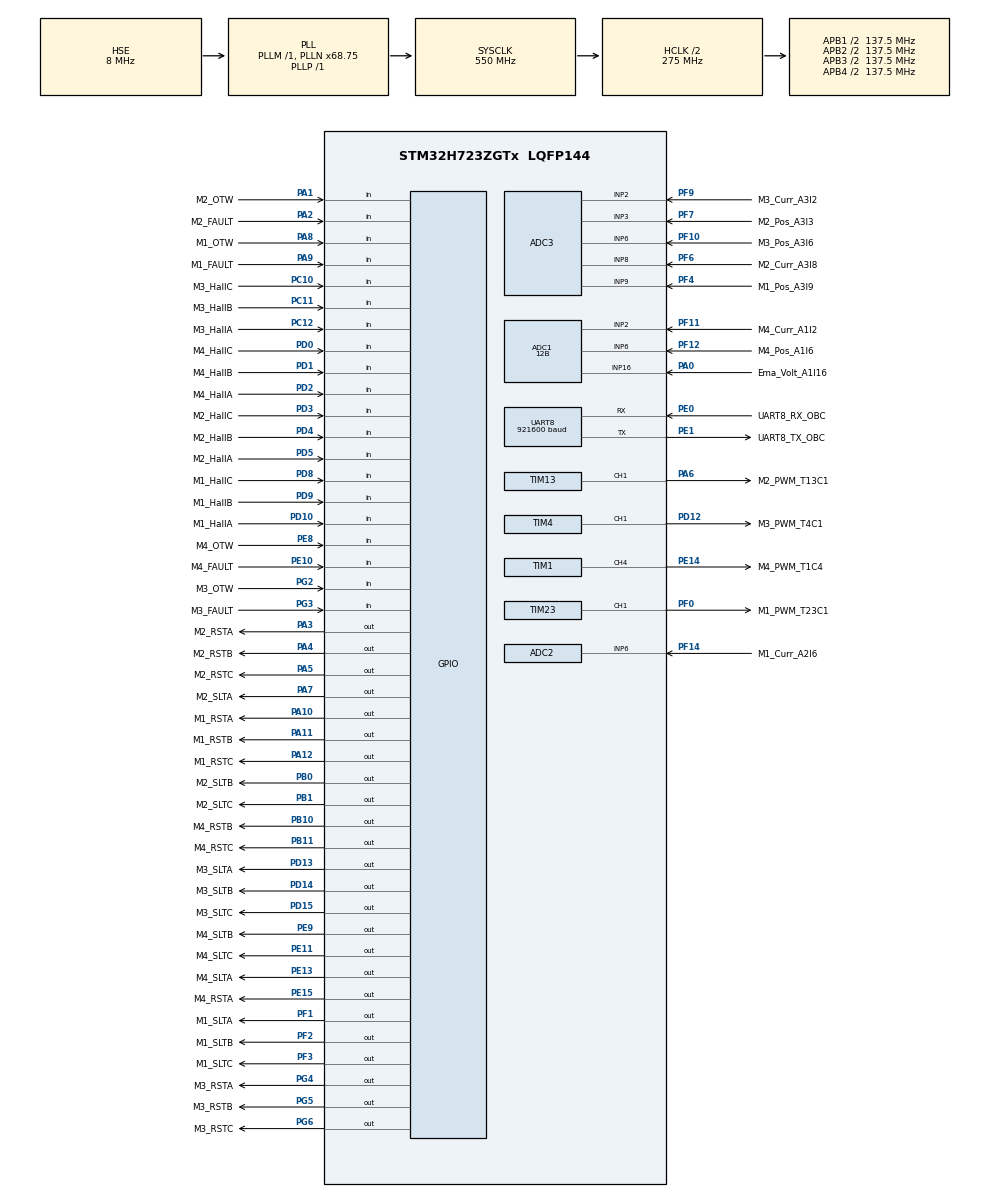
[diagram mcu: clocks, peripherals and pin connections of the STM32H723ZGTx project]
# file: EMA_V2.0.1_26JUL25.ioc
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ADC1.Channel-4\#ChannelRegularConversion=ADC_CHANNEL_2
ADC1.Channel-5\#ChannelRegularConversion=ADC_CHANNEL_6
ADC1.Channel-6\#ChannelRegularConversion=ADC_CHANNEL_16
ADC1.ClockPrescaler=ADC_CLOCK_ASYNC_DIV1
ADC1.ClockPrescalerADC3=ADC_CLOCK_ASYNC_DIV1
ADC1.ContinuousConvMode=DISABLE
ADC1.ConversionDataManagement=ADC_CONVERSIONDATA_DMA_ONESHOT
ADC1.EOCSelection=ADC_EOC_SEQ_CONV
ADC1.NbrOfConversion=3
ADC1.NbrOfConversionFlag=1
ADC1.OffsetNumber-4\#ChannelRegularConversion=ADC_OFFSET_NONE
ADC1.OffsetNumber-5\#ChannelRegularConversion=ADC_OFFSET_NONE
ADC1.OffsetNumber-6\#ChannelRegularConversion=ADC_OFFSET_NONE
ADC1.OffsetSignedSaturation-4\#ChannelRegularConversion=DISABLE
ADC1.OffsetSignedSaturation-5\#ChannelRegularConversion=DISABLE
ADC1.Rank-4\#ChannelRegularConversion=1
ADC1.Rank-5\#ChannelRegularConversion=2
ADC1.Rank-6\#ChannelRegularConversion=3
ADC1.Resolution=ADC_RESOLUTION_12B
ADC1.SamplingTime-4\#ChannelRegularConversion=ADC_SAMPLETIME_810CYCLES_5
ADC1.SamplingTime-5\#ChannelRegularConversion=ADC_SAMPLETIME_810CYCLES_5
ADC1.SamplingTime-6\#ChannelRegularConversion=ADC_SAMPLETIME_810CYCLES_5
ADC1.master=1
ADC2.Channel-1\#ChannelRegularConversion=ADC_CHANNEL_6
ADC2.ClockPrescalerADC3=ADC_CLOCK_ASYNC_DIV1
ADC2.ContinuousConvMode=DISABLE
ADC2.ConversionDataManagement=ADC_CONVERSIONDATA_DMA_ONESHOT
ADC2.EOCSelection=ADC_EOC_SEQ_CONV
ADC2.NbrOfConversion=1
ADC2.NbrOfConversionFlag=1
ADC2.OffsetNumber-1\#ChannelRegularConversion=ADC_OFFSET_NONE
ADC2.OffsetSignedSaturation-1\#ChannelRegularConversion=DISABLE
ADC2.Rank-1\#ChannelRegularConversion=1
ADC2.Resolution=ADC_RESOLUTION_12B
ADC2.SamplingTime-1\#ChannelRegularConversion=ADC_SAMPLETIME_810CYCLES_5
ADC3.Channel-12\#ChannelRegularConversion=ADC_CHANNEL_9
ADC3.Channel-13\#ChannelRegularConversion=ADC_CHANNEL_8
ADC3.Channel-14\#ChannelRegularConversion=ADC_CHANNEL_3
ADC3.Channel-15\#ChannelRegularConversion=ADC_CHANNEL_2
ADC3.Channel-16\#ChannelRegularConversion=ADC_CHANNEL_6
ADC3.ClockPrescaler=ADC_CLOCK_ASYNC_DIV1
ADC3.ClockPrescalerADC3=ADC_CLOCK_ASYNC_DIV1
ADC3.ContinuousConvMode=DISABLE
ADC3.ConversionDataManagement=ADC_CONVERSIONDATA_DMA_ONESHOT
ADC3.DMAContinuousRequests=DISABLE
ADC3.EOCSelection=ADC_EOC_SEQ_CONV
ADC3.NbrOfConversion=5
ADC3.NbrOfConversionFlag=1
ADC3.OffsetNumber-12\#ChannelRegularConversion=ADC_OFFSET_NONE
ADC3.OffsetNumber-13\#ChannelRegularConversion=ADC_OFFSET_NONE
ADC3.OffsetNumber-14\#ChannelRegularConversion=ADC_OFFSET_NONE
ADC3.OffsetNumber-15\#ChannelRegularConversion=ADC_OFFSET_NONE
ADC3.OffsetNumber-16\#ChannelRegularConversion=ADC_OFFSET_NONE
ADC3.OffsetSign-12\#ChannelRegularConversion=ADC3_OFFSET_SIGN_NEGATIVE
ADC3.OffsetSign-13\#ChannelRegularConversion=ADC3_OFFSET_SIGN_NEGATIVE
ADC3.OffsetSign-14\#ChannelRegularConversion=ADC3_OFFSET_SIGN_NEGATIVE
ADC3.OffsetSign-15\#ChannelRegularConversion=ADC3_OFFSET_SIGN_NEGATIVE
ADC3.OffsetSign-16\#ChannelRegularConversion=ADC3_OFFSET_SIGN_NEGATIVE
ADC3.Rank-12\#ChannelRegularConversion=1
ADC3.Rank-13\#ChannelRegularConversion=2
ADC3.Rank-14\#ChannelRegularConversion=3
ADC3.Rank-15\#ChannelRegularConversion=4
ADC3.Rank-16\#ChannelRegularConversion=5
ADC3.SamplingTime-12\#ChannelRegularConversion=ADC3_SAMPLETIME_640CYCLES_5
ADC3.SamplingTime-13\#ChannelRegularConversion=ADC3_SAMPLETIME_640CYCLES_5
ADC3.SamplingTime-14\#ChannelRegularConversion=ADC3_SAMPLETIME_640CYCLES_5
ADC3.SamplingTime-15\#ChannelRegularConversion=ADC3_SAMPLETIME_640CYCLES_5
ADC3.SamplingTime-16\#ChannelRegularConversion=ADC3_SAMPLETIME_640CYCLES_5
CRC.CRCLength=CRC_POLYLENGTH_16B
CRC.DefaultInitValueUse=DEFAULT_INIT_VALUE_DISABLE
CRC.DefaultPolynomialUse=DEFAULT_POLYNOMIAL_DISABLE
CRC.GeneratingPolynomial=X15+X2+X0
CRC.InitValue=0xFFFF
Dma.ADC1.2.Direction=DMA_PERIPH_TO_MEMORY
Dma.ADC1.2.EventEnable=DISABLE
Dma.ADC1.2.FIFOMode=DMA_FIFOMODE_DISABLE
Dma.ADC1.2.Instance=DMA1_Stream4
Dma.ADC1.2.MemDataAlignment=DMA_MDATAALIGN_HALFWORD
Dma.ADC1.2.MemInc=DMA_MINC_ENABLE
Dma.ADC1.2.Mode=DMA_NORMAL
Dma.ADC1.2.PeriphDataAlignment=DMA_PDATAALIGN_HALFWORD
Dma.ADC1.2.PeriphInc=DMA_PINC_DISABLE
Dma.ADC1.2.Polarity=HAL_DMAMUX_REQ_GEN_RISING
Dma.ADC1.2.Priority=DMA_PRIORITY_LOW
Dma.ADC1.2.RequestNumber=1
Dma.ADC1.2.SignalID=NONE
Dma.ADC1.2.SyncEnable=DISABLE
Dma.ADC1.2.SyncPolarity=HAL_DMAMUX_SYNC_NO_EVENT
Dma.ADC1.2.SyncRequestNumber=1
Dma.ADC1.2.SyncSignalID=NONE
Dma.ADC2.3.Direction=DMA_PERIPH_TO_MEMORY
Dma.ADC2.3.EventEnable=DISABLE
Dma.ADC2.3.FIFOMode=DMA_FIFOMODE_DISABLE
Dma.ADC2.3.Instance=DMA1_Stream3
Dma.ADC2.3.MemDataAlignment=DMA_MDATAALIGN_HALFWORD
Dma.ADC2.3.MemInc=DMA_MINC_ENABLE
Dma.ADC2.3.Mode=DMA_NORMAL
Dma.ADC2.3.PeriphDataAlignment=DMA_PDATAALIGN_HALFWORD
Dma.ADC2.3.PeriphInc=DMA_PINC_DISABLE
Dma.ADC2.3.Polarity=HAL_DMAMUX_REQ_GEN_RISING
Dma.ADC2.3.Priority=DMA_PRIORITY_LOW
Dma.ADC2.3.RequestNumber=1
Dma.ADC2.3.SignalID=NONE
Dma.ADC2.3.SyncEnable=DISABLE
Dma.ADC2.3.SyncPolarity=HAL_DMAMUX_SYNC_NO_EVENT
Dma.ADC2.3.SyncRequestNumber=1
Dma.ADC2.3.SyncSignalID=NONE
Dma.ADC3.4.Direction=DMA_PERIPH_TO_MEMORY
Dma.ADC3.4.EventEnable=DISABLE
Dma.ADC3.4.FIFOMode=DMA_FIFOMODE_DISABLE
Dma.ADC3.4.Instance=DMA1_Stream1
Dma.ADC3.4.MemDataAlignment=DMA_MDATAALIGN_HALFWORD
Dma.ADC3.4.MemInc=DMA_MINC_ENABLE
Dma.ADC3.4.Mode=DMA_NORMAL
Dma.ADC3.4.PeriphDataAlignment=DMA_PDATAALIGN_HALFWORD
Dma.ADC3.4.PeriphInc=DMA_PINC_DISABLE
Dma.ADC3.4.Polarity=HAL_DMAMUX_REQ_GEN_RISING
Dma.ADC3.4.Priority=DMA_PRIORITY_LOW
Dma.ADC3.4.RequestNumber=1
Dma.ADC3.4.SignalID=NONE
Dma.ADC3.4.SyncEnable=DISABLE
Dma.ADC3.4.SyncPolarity=HAL_DMAMUX_SYNC_NO_EVENT
Dma.ADC3.4.SyncRequestNumber=1
Dma.ADC3.4.SyncSignalID=NONE
Dma.Request0=UART8_RX
Dma.Request1=UART8_TX
Dma.Request2=ADC1
Dma.Request3=ADC2
Dma.Request4=ADC3
Dma.UART8_RX.0.Direction=DMA_PERIPH_TO_MEMORY
Dma.UART8_RX.0.EventEnable=DISABLE
Dma.UART8_RX.0.FIFOMode=DMA_FIFOMODE_DISABLE
Dma.UART8_RX.0.Instance=DMA1_Stream0
Dma.UART8_RX.0.MemDataAlignment=DMA_MDATAALIGN_BYTE
Dma.UART8_RX.0.MemInc=DMA_MINC_ENABLE
Dma.UART8_RX.0.Mode=DMA_NORMAL
Dma.UART8_RX.0.PeriphDataAlignment=DMA_PDATAALIGN_BYTE
Dma.UART8_RX.0.PeriphInc=DMA_PINC_DISABLE
Dma.UART8_RX.0.Polarity=HAL_DMAMUX_REQ_GEN_RISING
Dma.UART8_RX.0.Priority=DMA_PRIORITY_VERY_HIGH
Dma.UART8_RX.0.RequestNumber=1
Dma.UART8_RX.0.SignalID=NONE
Dma.UART8_RX.0.SyncEnable=DISABLE
Dma.UART8_RX.0.SyncPolarity=HAL_DMAMUX_SYNC_NO_EVENT
Dma.UART8_RX.0.SyncRequestNumber=1
Dma.UART8_RX.0.SyncSignalID=NONE
Dma.UART8_TX.1.Direction=DMA_MEMORY_TO_PERIPH
Dma.UART8_TX.1.EventEnable=DISABLE
Dma.UART8_TX.1.FIFOMode=DMA_FIFOMODE_DISABLE
Dma.UART8_TX.1.Instance=DMA1_Stream2
Dma.UART8_TX.1.MemDataAlignment=DMA_MDATAALIGN_BYTE
Dma.UART8_TX.1.MemInc=DMA_MINC_ENABLE
Dma.UART8_TX.1.Mode=DMA_NORMAL
Dma.UART8_TX.1.PeriphDataAlignment=DMA_PDATAALIGN_BYTE
Dma.UART8_TX.1.PeriphInc=DMA_PINC_DISABLE
Dma.UART8_TX.1.Polarity=HAL_DMAMUX_REQ_GEN_RISING
Dma.UART8_TX.1.Priority=DMA_PRIORITY_HIGH
Dma.UART8_TX.1.RequestNumber=1
Dma.UART8_TX.1.SignalID=NONE
Dma.UART8_TX.1.SyncEnable=DISABLE
Dma.UART8_TX.1.SyncPolarity=HAL_DMAMUX_SYNC_NO_EVENT
Dma.UART8_TX.1.SyncRequestNumber=1
Dma.UART8_TX.1.SyncSignalID=NONE
Mcu.Family=STM32H7
Mcu.Name=STM32H723ZGTx
Mcu.Package=LQFP144
NVIC.ADC_IRQn=true\:2\:0\:true\:false\:true\:true\:true\:true
NVIC.DMA1_Stream0_IRQn=true\:0\:0\:false\:false\:true\:false\:true\:true
NVIC.DMA1_Stream1_IRQn=true\:2\:0\:true\:false\:true\:false\:true\:true
NVIC.DMA1_Stream2_IRQn=true\:0\:0\:false\:false\:true\:false\:true\:true
NVIC.DMA1_Stream3_IRQn=true\:2\:0\:true\:false\:true\:false\:true\:true
NVIC.DMA1_Stream4_IRQn=true\:2\:0\:true\:false\:true\:false\:true\:true
NVIC.PriorityGroup=NVIC_PRIORITYGROUP_4
NVIC.TIM3_IRQn=true\:1\:0\:true\:false\:true\:true\:true\:true
NVIC.UART8_IRQn=true\:0\:0\:false\:false\:true\:true\:true\:true
PA0.GPIO_Label=Ema_Volt_A1I16
PA0.Mode=IN16-Single-Ended
PA0.Signal=ADC1_INP16
PA1.GPIO_Label=M2_OTW
PA1.GPIO_PuPd=GPIO_PULLUP
PA1.Signal=GPIO_Input
PA10.GPIO_Label=M1_RSTA
PA10.Signal=GPIO_Output
PA11.GPIO_Label=M1_RSTB
PA11.Signal=GPIO_Output
PA12.GPIO_Label=M1_RSTC
PA12.Signal=GPIO_Output
PA2.GPIO_Label=M2_FAULT
PA2.GPIO_PuPd=GPIO_PULLUP
PA2.Signal=GPIO_Input
PA3.GPIO_Label=M2_RSTA
PA3.Signal=GPIO_Output
PA4.GPIO_Label=M2_RSTB
PA4.Signal=GPIO_Output
PA5.GPIO_Label=M2_RSTC
PA5.Signal=GPIO_Output
PA6.GPIO_Label=M2_PWM_T13C1
PA6.GPIO_PuPd=GPIO_PULLDOWN
PA6.Signal=S_TIM13_CH1
PA7.GPIO_Label=M2_SLTA
PA7.Signal=GPIO_Output
PA8.GPIO_Label=M1_OTW
PA8.GPIO_PuPd=GPIO_PULLUP
PA8.Signal=GPIO_Input
PA9.GPIO_Label=M1_FAULT
PA9.GPIO_PuPd=GPIO_PULLUP
PA9.Signal=GPIO_Input
PB0.GPIO_Label=M2_SLTB
PB0.Signal=GPIO_Output
PB1.GPIO_Label=M2_SLTC
PB1.Signal=GPIO_Output
PB10.GPIO_Label=M4_RSTB
PB10.Signal=GPIO_Output
PB11.GPIO_Label=M4_RSTC
PB11.Signal=GPIO_Output
PC10.GPIO_Label=M3_HallC
PC10.GPIO_PuPd=GPIO_PULLUP
PC10.Signal=GPIO_Input
PC11.GPIO_Label=M3_HallB
PC11.GPIO_PuPd=GPIO_PULLUP
PC11.Signal=GPIO_Input
PC12.GPIO_Label=M3_HallA
PC12.GPIO_PuPd=GPIO_PULLUP
PC12.Signal=GPIO_Input
PC14-OSC32_IN.Mode=LSE-External-Oscillator
PC14-OSC32_IN.Signal=RCC_OSC32_IN
PC15-OSC32_OUT.Mode=LSE-External-Oscillator
PC15-OSC32_OUT.Signal=RCC_OSC32_OUT
PD0.GPIO_Label=M4_HallC
PD0.GPIO_PuPd=GPIO_PULLUP
PD0.Signal=GPIO_Input
PD1.GPIO_Label=M4_HallB
PD1.GPIO_PuPd=GPIO_PULLUP
PD1.Signal=GPIO_Input
PD10.GPIO_Label=M1_HallA
PD10.GPIO_PuPd=GPIO_PULLUP
PD10.Signal=GPIO_Input
PD12.GPIO_Label=M3_PWM_T4C1
PD12.Signal=S_TIM4_CH1
PD13.GPIO_Label=M3_SLTA
PD13.Signal=GPIO_Output
PD14.GPIO_Label=M3_SLTB
PD14.Signal=GPIO_Output
PD15.GPIO_Label=M3_SLTC
PD15.Signal=GPIO_Output
PD2.GPIO_Label=M4_HallA
PD2.GPIO_PuPd=GPIO_PULLUP
PD2.Signal=GPIO_Input
PD3.GPIO_Label=M2_HallC
PD3.GPIO_PuPd=GPIO_PULLUP
PD3.Signal=GPIO_Input
PD4.GPIO_Label=M2_HallB
PD4.GPIO_PuPd=GPIO_PULLUP
PD4.Signal=GPIO_Input
PD5.GPIO_Label=M2_HallA
PD5.GPIO_PuPd=GPIO_PULLUP
PD5.Signal=GPIO_Input
PD8.GPIO_Label=M1_HallC
PD8.GPIO_PuPd=GPIO_PULLUP
PD8.Signal=GPIO_Input
PD9.GPIO_Label=M1_HallB
PD9.GPIO_PuPd=GPIO_PULLUP
PD9.Signal=GPIO_Input
PE0.GPIO_Label=UART8_RX_OBC
PE0.GPIO_PuPd=GPIO_NOPULL
PE0.Mode=Asynchronous
PE0.Signal=UART8_RX
PE1.GPIO_Label=UART8_TX_OBC
PE1.GPIO_PuPd=GPIO_NOPULL
PE1.Mode=Asynchronous
PE1.Signal=UART8_TX
PE10.GPIO_Label=M4_FAULT
PE10.GPIO_PuPd=GPIO_PULLUP
PE10.Signal=GPIO_Input
PE11.GPIO_Label=M4_SLTC
PE11.Signal=GPIO_Output
PE13.GPIO_Label=M4_SLTA
PE13.Signal=GPIO_Output
PE14.GPIO_Label=M4_PWM_T1C4
PE14.GPIO_PuPd=GPIO_PULLDOWN
PE14.Signal=S_TIM1_CH4
PE15.GPIO_Label=M4_RSTA
PE15.Signal=GPIO_Output
PE8.GPIO_Label=M4_OTW
PE8.GPIO_PuPd=GPIO_PULLUP
PE8.Signal=GPIO_Input
PE9.GPIO_Label=M4_SLTB
PE9.Signal=GPIO_Output
PF0.GPIO_Label=M1_PWM_T23C1
PF0.GPIO_PuPd=GPIO_PULLDOWN
PF0.Mode=PWM Generation1 CH1
PF0.Signal=TIM23_CH1
PF1.GPIO_Label=M1_SLTA
PF1.Signal=GPIO_Output
PF10.GPIO_Label=M3_Pos_A3I6
PF10.Mode=IN6-Single-Ended
PF10.Signal=ADC3_INP6
PF11.GPIO_Label=M4_Curr_A1I2
PF11.Mode=IN2-Single-Ended
PF11.Signal=ADC1_INP2
PF12.GPIO_Label=M4_Pos_A1I6
PF12.Mode=IN6-Single-Ended
PF12.Signal=ADC1_INP6
PF14.GPIO_Label=M1_Curr_A2I6
PF14.Mode=IN6-Single-Ended
PF14.Signal=ADC2_INP6
PF2.GPIO_Label=M1_SLTB
PF2.Signal=GPIO_Output
PF3.GPIO_Label=M1_SLTC
PF3.Signal=GPIO_Output
PF4.GPIO_Label=M1_Pos_A3I9
PF4.Mode=IN9-Single-Ended
PF4.Signal=ADC3_INP9
PF6.GPIO_Label=M2_Curr_A3I8
PF6.Mode=IN8-Single-Ended
PF6.Signal=ADC3_INP8
PF7.GPIO_Label=M2_Pos_A3I3
PF7.Mode=IN3-Single-Ended
PF7.Signal=ADC3_INP3
PF9.GPIO_Label=M3_Curr_A3I2
PF9.Mode=IN2-Single-Ended
PF9.Signal=ADC3_INP2
PG2.GPIO_Label=M3_OTW
PG2.GPIO_PuPd=GPIO_PULLUP
PG2.Signal=GPIO_Input
PG3.GPIO_Label=M3_FAULT
PG3.GPIO_PuPd=GPIO_PULLUP
PG3.Signal=GPIO_Input
PG4.GPIO_Label=M3_RSTA
PG4.Signal=GPIO_Output
PG5.GPIO_Label=M3_RSTB
PG5.Signal=GPIO_Output
PG6.GPIO_Label=M3_RSTC
PG6.Signal=GPIO_Output
PH0-OSC_IN.Mode=HSE-External-Oscillator
PH0-OSC_IN.Signal=RCC_OSC_IN
PH1-OSC_OUT.Mode=HSE-External-Oscillator
PH1-OSC_OUT.Signal=RCC_OSC_OUT
ProjectManager.HeapSize=0x200
ProjectManager.StackSize=0x400
ProjectManager.TargetToolchain=STM32CubeIDE
RCC.ADCFreq_Value=96000000
RCC.APB1Freq_Value=137500000
RCC.APB2Freq_Value=137500000
RCC.APB3Freq_Value=137500000
RCC.APB4Freq_Value=137500000
RCC.CortexFreq_Value=550000000
RCC.D1PPRE=RCC_APB3_DIV2
RCC.D2PPRE1=RCC_APB1_DIV2
RCC.D2PPRE2=RCC_APB2_DIV2
RCC.D3PPRE=RCC_APB4_DIV2
RCC.DIVM1=1
RCC.DIVM2=1
RCC.DIVN1=68
RCC.DIVN2=24
RCC.DIVP1=1
RCC.DIVQ1=4
RCC.HCLKFreq_Value=275000000
RCC.HPRE=RCC_HCLK_DIV2
RCC.HSE_VALUE=8000000
RCC.PLL2FRACN=0
RCC.PLL3FRACN=0
RCC.PLLFRACN=6144
RCC.PLLSourceVirtual=RCC_PLLSOURCE_HSE
RCC.SYSCLKFreq_VALUE=550000000
RCC.SYSCLKSource=RCC_SYSCLKSOURCE_PLLCLK
RCC.USBCLockSelection=RCC_USBCLKSOURCE_HSI48
RCC.USBFreq_Value=48000000
SH.S_TIM13_CH1.0=TIM13_CH1,PWM Generation1 CH1
SH.S_TIM1_CH4.0=TIM1_CH4,PWM Generation4 CH4
SH.S_TIM4_CH1.0=TIM4_CH1,PWM Generation1 CH1
TIM1.Channel-PWM\ Generation4\ CH4=TIM_CHANNEL_4
TIM1.OC4Preload_PWM=DISABLE
TIM1.Period=1375-1
TIM1.Prescaler=5-1
TIM13.Channel=TIM_CHANNEL_1
TIM13.OC1Preload_PWM=DISABLE
TIM13.Period=1375-1
TIM13.Prescaler=5-1
TIM2.Prescaler=275
TIM23.Channel-PWM\ Generation1\ CH1=TIM_CHANNEL_1
TIM23.OC1Preload_PWM=DISABLE
TIM23.Period=1375-1
TIM23.Prescaler=5-1
TIM3.Period=2200-1
TIM3.Prescaler=25-1
TIM4.Channel-PWM\ Generation1\ CH1=TIM_CHANNEL_1
TIM4.OC1Preload_PWM=DISABLE
TIM4.Period=1375-1
TIM4.Prescaler=5-1
UART8.BaudRate=921600
VP_CRC_VS_CRC.Mode=CRC_Activate
VP_MEMORYMAP_VS_MEMORYMAP.Mode=CurAppReg
VP_TIM13_VS_ClockSourceINT.Mode=Enable_Timer
VP_TIM1_VS_ClockSourceINT.Mode=Internal
VP_TIM23_VS_ClockSourceINT.Mode=Internal
VP_TIM2_VS_ClockSourceINT.Mode=Internal
VP_TIM3_VS_ClockSourceINT.Mode=Internal
VP_TIM4_VS_ClockSourceINT.Mode=Internal
board=NUCLEO-H723ZG

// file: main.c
/* USER CODE BEGIN Header */
// ============================================================
// File Name	: main.c
// Author		: Bhavesh
// Version		: V2.0.1
// Created on	: Jul 26, 2025
// ============================================================
/* USER CODE END Header */
#include "main.h"
#include "adc.h"
#include "crc.h"
#include "dma.h"
#include "memorymap.h"
#include "tim.h"
#include "usart.h"
#include "gpio.h"

/* USER CODE BEGIN Includes */

#include <math.h>
#include <string.h>
#include "struct.h"
#include "timDelay.h"
#include "variables.h"
#include "functions.h"
#include "flashData.h"

/* USER CODE END Includes */

void SystemClock_Config(void);
void PeriphCommonClock_Config(void);

int main(void)
{

	/* MCU Configuration--------------------------------------------------------*/

	/* Reset of all peripherals, Initializes the Flash interface and the Systick. */
	HAL_Init();

	/* Configure the system clock */
	SystemClock_Config();

	/* Configure the peripherals common clocks */
	PeriphCommonClock_Config();

	/* Initialize all configured peripherals */
	MX_GPIO_Init();
	MX_DMA_Init();
	MX_TIM1_Init();
	MX_TIM4_Init();
	MX_TIM13_Init();
	MX_ADC3_Init();
	MX_UART8_Init();
	MX_ADC1_Init();
	MX_ADC2_Init();
	MX_TIM23_Init();
	MX_CRC_Init();
	MX_TIM2_Init();
	MX_TIM3_Init();
	/* USER CODE BEGIN 2 */

	// Local Variables
	uint8_t i = 0;
	union _Offset_ Offset;

	// Init Motor GPIOs
	motorGPIOs_Init();

	// Enable DWT for nanoseconds delay
	DWT_Init();

	// Calibrate ADC for better accuracy
	HAL_ADCEx_Calibration_Start(&hadc1, ADC_CALIB_OFFSET_LINEARITY, ADC_SINGLE_ENDED);
	HAL_ADCEx_Calibration_Start(&hadc2, ADC_CALIB_OFFSET_LINEARITY, ADC_SINGLE_ENDED);
	HAL_ADCEx_Calibration_Start(&hadc3, ADC_CALIB_OFFSET_LINEARITY, ADC_SINGLE_ENDED);

	// Calculate Software Checksum
	SwCheckSum = (uint16_t)HAL_CRC_Calculate(&hcrc, (uint32_t *)StartAddress, AppSize);

	// Read Offset from flash & validate it
	if(readFlashData(SEC_ADDR, Offset.Buffer, 17) == 17)
	{
		if(Offset.OffsetStruct.CheckSum == calCheckSum(Offset.Buffer, 16))
		{
			if( (Vd150 <= Offset.OffsetStruct.Offset[0] && Offset.OffsetStruct.Offset[0] <= Vd170) &&
				(Vd150 <= Offset.OffsetStruct.Offset[1] && Offset.OffsetStruct.Offset[1] <= Vd170) &&
				(Vd150 <= Offset.OffsetStruct.Offset[2] && Offset.OffsetStruct.Offset[2] <= Vd170) &&
				(Vd150 <= Offset.OffsetStruct.Offset[3] && Offset.OffsetStruct.Offset[3] <= Vd170) )
			{

				Delta_Vd160[0] = Offset.OffsetStruct.Offset[0];
				Delta_Vd160[1] = Offset.OffsetStruct.Offset[1];
				Delta_Vd160[2] = Offset.OffsetStruct.Offset[2];
				Delta_Vd160[3] = Offset.OffsetStruct.Offset[3];
			}
		}
	}

	// Start OBC UART Dummy Receive Polling
	HAL_UART_Receive(ObcUart, ObcCmd.ObcCmdBuff, sizeof(ObcCmd.ObcCmdBuff), 2);

	// Start OBC UART Idle DMA for Data Receive
	HAL_UARTEx_ReceiveToIdle_DMA(ObcUart, ObcCmd.ObcCmdBuff, sizeof(ObcCmd.ObcCmdBuff));
	__HAL_DMA_DISABLE_IT(ObcUart->hdmarx, DMA_IT_HT);

	// Start 200us Timer Interrupt
	HAL_TIM_Base_Start_IT(&htim3);

	// Start ADC DMA Conversions
	HAL_ADC_Start_DMA(&hadc3, (uint32_t *)(AdcVal+4), 5);
	HAL_ADC_Start_DMA(&hadc1, (uint32_t *)(AdcVal+1), 3);
	HAL_ADC_Start_DMA(&hadc2, (uint32_t *)(AdcVal+0), 1);

	/* USER CODE END 2 */

	/* Infinite loop */
	while(1)
	{

		/* USER CODE BEGIN 3 */

		// Read Offsets of Potentiometer
		if(ReadOffsetFlag == 1)
		{
			ReadOffsetFlag = 0;

			// Stop ADC DMA Conversion
			HAL_ADC_Stop_DMA(&hadc1);
			HAL_ADC_Stop_DMA(&hadc2);
			HAL_ADC_Stop_DMA(&hadc3);

			// Read ADC Values in Polling for averaging
			for(i = 1; i <= 25; i++)
			{
				readADC();
				timDelayMS(1);

				if(i % 5 == 0)
				{
					timDelayS(1);
				}
			}

			Delta_Vd160[0] = (AdcVal[4] * 3.3f) / 4096.0f;
			Delta_Vd160[1] = (AdcVal[6] * 3.3f) / 4096.0f;
			Delta_Vd160[2] = (AdcVal[8] * 3.3f) / 4096.0f;
			Delta_Vd160[3] = (AdcVal[2] * 3.3f) / 4096.0f;

			// Check Offset are Valid or Not
			if( (Vd150 <= Delta_Vd160[0] && Delta_Vd160[0] <= Vd170) &&
				(Vd150 <= Delta_Vd160[1] && Delta_Vd160[1] <= Vd170) &&
				(Vd150 <= Delta_Vd160[2] && Delta_Vd160[2] <= Vd170) &&
				(Vd150 <= Delta_Vd160[3] && Delta_Vd160[3] <= Vd170) )
			{

				Offset.OffsetStruct.Offset[0] = Delta_Vd160[0];
				Offset.OffsetStruct.Offset[1] = Delta_Vd160[1];
				Offset.OffsetStruct.Offset[2] = Delta_Vd160[2];
				Offset.OffsetStruct.Offset[3] = Delta_Vd160[3];

				Offset.OffsetStruct.CheckSum = calCheckSum(Offset.Buffer, 16);

				if(eraseFlash_LastSector() ==  HAL_OK && writeFlashData(Offset.Buffer, 17) == 17)
				{
					sendAckNack(0, ReadOffset_CmdID);
				}
				else
				{
					sendAckNack(2, ReadOffset_CmdID);
				}
			}
			else
			{
				sendAckNack(2, ReadOffset_CmdID);
			}

			// Reset Controller
			timDelayS(1);
			NVIC_SystemReset();
		}

		// Wait for 200 us Timer Interrupt
		while(TimIntFlag == 0);
		TimIntFlag = 0;

		// Check Actuator Fault
		checkMotorFault();

		// Do Calculations & Operate Motors
		for(i = 0; i < 4; i++)
		{
			// Convert Angles from Degree to Radian's
			Delta_Pos[i] = DegToRad(ActPos[i]);
			Delta_Cmd[i] = DegToRad(CmdActpos[i]);

			// Angular Velocity
			Delta_Dot_FF[i] = (Delta_Pos[i] - Delta_Pos_Last[i]) / (0.0002f);
			Delta_Pos_Last[i] = Delta_Pos[i];

			// Summation of Rate and Position
			Delta_FB_Com[i] = (Delta_Pos[i] * Kpfb[i]) + (Delta_Dot_FF[i] * Krfb[i]);

			// LPF (Low Pass Filter)
			Delta_FB_Com_Fil[i] = (0.025154003643226f * Delta_FB_Com[i]) + (0.050308007286452f * Delta_FB_Com_t[i][0]) + (0.025154003643226f * Delta_FB_Com_t[i][1]) - ((-1.365599449644297f) * Delta_FB_Com_Fil_t[i][0]) - (0.466215464217202f * Delta_FB_Com_Fil_t[i][1]);

			// Calculate Position Error
			Delta_Error[i] = (Delta_Cmd[i] - Delta_FB_Com_Fil[i]) * Kpos[i];

			// Storing Last Calculated Values for LPF
			Delta_FB_Com_t[i][1] = Delta_FB_Com_t[i][0];
			Delta_FB_Com_t[i][0] = Delta_FB_Com[i];

			Delta_FB_Com_Fil_t[i][1] = Delta_FB_Com_Fil_t[i][0];
			Delta_FB_Com_Fil_t[i][0] = Delta_FB_Com_Fil[i];

			// Calculate PWM Duty Cycle
			PWM_DC[i] = Delta_Error[i] / MaxTorque[i];

			if(PWM_DC[i] < 0)
			{
				PWM_DC[i] = (Delta_Error[i] / MaxTorque[i]) * (-1.0f);
			}

			if(PWM_DC[i] > 0.98)
			{
				PWM_DC[i] = 0.98;
			}

			// Update PWM Duty Cycle in Timer
			PWMTim[i]->Instance->CCR1 = (uint32_t)((float)((uint32_t)__HAL_TIM_GET_AUTORELOAD(PWMTim[i])) * PWM_DC[i]);

			// Operate Motor
			if(Delta_Error[i] >= 0)
			{
				// Operate Motor in Backward Direction
				operateMotor(i, ActStatflag[i], 0);
			}
			else
			{
				// Operate Motor in Forward Direction
				operateMotor(i, ActStatflag[i], 1);
			}
		}
	}

	return 0;
	/* USER CODE END 3 */
}

void SystemClock_Config(void)
{
  RCC_OscInitTypeDef RCC_OscInitStruct = {0};
  RCC_ClkInitTypeDef RCC_ClkInitStruct = {0};

  /** Supply configuration update enable
  */
  HAL_PWREx_ConfigSupply(PWR_LDO_SUPPLY);

  /** Configure the main internal regulator output voltage
  */
  __HAL_PWR_VOLTAGESCALING_CONFIG(PWR_REGULATOR_VOLTAGE_SCALE0);

  while(!__HAL_PWR_GET_FLAG(PWR_FLAG_VOSRDY)) {}

  /** Initializes the RCC Oscillators according to the specified parameters
  * in the RCC_OscInitTypeDef structure.
  */
  RCC_OscInitStruct.OscillatorType = RCC_OSCILLATORTYPE_HSE;
  RCC_OscInitStruct.HSEState = RCC_HSE_ON;
  RCC_OscInitStruct.PLL.PLLState = RCC_PLL_ON;
  RCC_OscInitStruct.PLL.PLLSource = RCC_PLLSOURCE_HSE;
  RCC_OscInitStruct.PLL.PLLM = 1;
  RCC_OscInitStruct.PLL.PLLN = 68;
  RCC_OscInitStruct.PLL.PLLP = 1;
  RCC_OscInitStruct.PLL.PLLQ = 4;
  RCC_OscInitStruct.PLL.PLLR = 2;
  RCC_OscInitStruct.PLL.PLLRGE = RCC_PLL1VCIRANGE_3;
  RCC_OscInitStruct.PLL.PLLVCOSEL = RCC_PLL1VCOWIDE;
  RCC_OscInitStruct.PLL.PLLFRACN = 6144;
  if (HAL_RCC_OscConfig(&RCC_OscInitStruct) != HAL_OK)
  {
    Error_Handler();
  }

  /** Initializes the CPU, AHB and APB buses clocks
  */
  RCC_ClkInitStruct.ClockType = RCC_CLOCKTYPE_HCLK|RCC_CLOCKTYPE_SYSCLK
                              |RCC_CLOCKTYPE_PCLK1|RCC_CLOCKTYPE_PCLK2
                              |RCC_CLOCKTYPE_D3PCLK1|RCC_CLOCKTYPE_D1PCLK1;
  RCC_ClkInitStruct.SYSCLKSource = RCC_SYSCLKSOURCE_PLLCLK;
  RCC_ClkInitStruct.SYSCLKDivider = RCC_SYSCLK_DIV1;
  RCC_ClkInitStruct.AHBCLKDivider = RCC_HCLK_DIV2;
  RCC_ClkInitStruct.APB3CLKDivider = RCC_APB3_DIV2;
  RCC_ClkInitStruct.APB1CLKDivider = RCC_APB1_DIV2;
  RCC_ClkInitStruct.APB2CLKDivider = RCC_APB2_DIV2;
  RCC_ClkInitStruct.APB4CLKDivider = RCC_APB4_DIV2;

  if (HAL_RCC_ClockConfig(&RCC_ClkInitStruct, FLASH_LATENCY_3) != HAL_OK)
  {
    Error_Handler();
  }
}

void PeriphCommonClock_Config(void)
{
  RCC_PeriphCLKInitTypeDef PeriphClkInitStruct = {0};

  /** Initializes the peripherals clock
  */
  PeriphClkInitStruct.PeriphClockSelection = RCC_PERIPHCLK_ADC;
  PeriphClkInitStruct.PLL2.PLL2M = 1;
  PeriphClkInitStruct.PLL2.PLL2N = 24;
  PeriphClkInitStruct.PLL2.PLL2P = 2;
  PeriphClkInitStruct.PLL2.PLL2Q = 2;
  PeriphClkInitStruct.PLL2.PLL2R = 2;
  PeriphClkInitStruct.PLL2.PLL2RGE = RCC_PLL2VCIRANGE_3;
  PeriphClkInitStruct.PLL2.PLL2VCOSEL = RCC_PLL2VCOWIDE;
  PeriphClkInitStruct.PLL2.PLL2FRACN = 0;
  PeriphClkInitStruct.AdcClockSelection = RCC_ADCCLKSOURCE_PLL2;
  if (HAL_RCCEx_PeriphCLKConfig(&PeriphClkInitStruct) != HAL_OK)
  {
    Error_Handler();
  }
}

/* USER CODE BEGIN 4 */

// ---------- ADC DMA Conversion Callback ----------
void HAL_ADC_ConvCpltCallback(ADC_HandleTypeDef *hadc)
{
	static uint8_t AdcFlag[3] = {0, 0, 0};
	static float AdcVolt[9][5] = {0};
	static uint8_t AdcCnt = 0;

	float AdcVoltAvg[9] = {0};
	uint8_t i = 0, j = 0;

	if(hadc->Instance == ADC1)
	{
		AdcFlag[0] = 1;
	}
	else if(hadc->Instance == ADC2)
	{
		AdcFlag[1] = 1;
	}
	else if(hadc->Instance == ADC3)
	{
		AdcFlag[2] = 1;
	}
	else
	{

	}

	// Calculate Act Position, Motor Current & EMA Voltage
	if(AdcFlag[0] == 1 && AdcFlag[1] == 1 && AdcFlag[3] == 1)
	{
		AdcFlag[0] = 0;
		AdcFlag[1] = 0;
		AdcFlag[2] = 0;

		for(i = 0; i < 9; i++)
		{
			// Calculate ADC Voltage
			AdcVolt[i][AdcCnt] = (AdcVal[i] * 3.3f) / 4096.0f;

			// Calculate Average of ADC Voltage
			AdcVoltAvg[i] = 0.0f;
			for(j = 0; j < 5; j++)
			{
				AdcVoltAvg[i] += AdcVolt[i][j];
			}
			AdcVoltAvg[i] /= 5.0f;
		}

		if(++AdcCnt >= 5)
		{
			AdcCnt = 0;
		}

		// EMA Actuator Voltage
		EmaActVolt	= (AdcVoltAvg[3] - 0.0001f) * 11.0f / 1.0f;

		// Actuator 1
		ActCurr[0]	= AdcVoltAvg[0] * 160.0f;
		ActPos[0]	= (AdcVoltAvg[4] - Delta_Vd160[0]) / ((AdcVoltAvg[4] <= Delta_Vd160[0]) ? Delta_VN[0] : Delta_VP[0]);

		// Actuator 2
		ActCurr[1]	= AdcVoltAvg[5] * 160.0f;
		ActPos[1]	= (AdcVoltAvg[6] - Delta_Vd160[1]) / ((AdcVoltAvg[6] <= Delta_Vd160[1]) ? Delta_VN[1] : Delta_VP[1]);

		// Actuator 3
		ActCurr[2]	= AdcVoltAvg[7] * 160.0f;
		ActPos[2]	= (AdcVoltAvg[8] - Delta_Vd160[2]) / ((AdcVoltAvg[8] <= Delta_Vd160[2]) ? Delta_VN[2] : Delta_VP[2]);

		// Actuator 4
		ActCurr[3]	= AdcVoltAvg[1] * 160.0f;
		ActPos[3]	= (AdcVoltAvg[2] - Delta_Vd160[3]) / ((AdcVoltAvg[2] <= Delta_Vd160[3]) ? Delta_VN[3] : Delta_VP[3]);

		HAL_ADC_Start_DMA(&hadc3, (uint32_t *)(AdcVal+4), 5);
		HAL_ADC_Start_DMA(&hadc1, (uint32_t *)(AdcVal+1), 3);
		HAL_ADC_Start_DMA(&hadc2, (uint32_t *)(AdcVal+0), 1);
	}

	return;
}

// ---------- TIM Interrupt Callback ----------
void HAL_TIM_PeriodElapsedCallback(TIM_HandleTypeDef *htim)
{
	static uint8_t taskCnt = 0;

	if(htim->Instance == TIM3)
	{
		taskCnt++;
		if(taskCnt % 5 == 0)
		{
			EmaTime++;
			if(EmaTime >= 86400000)
			{
				EmaTime = 0;
			}

			taskCnt = 0;
		}

		// Disable all actuators if voltage is less
		if(EmaActVolt < 18.0f)
		{
			ActStatflag[0] = 0;
			ActStatflag[1] = 0;
			ActStatflag[2] = 0;
			ActStatflag[3] = 0;
		}

		TimIntFlag = 1;
	}

	else
	{

	}

	return;
}

// ---------- UART Receive DMA Idle Callback ----------
void HAL_UARTEx_RxEventCallback(UART_HandleTypeDef *huart, uint16_t Size)
{
	uint8_t ActID;

	if(huart->Instance == ObcUart->Instance)
	{
		// Check CheckSum && Header
		if((ObcCmd.ObcCmdBuff[ObcCmd.ObcCmdBuff[3]+4] != calCheckSum(ObcCmd.ObcCmdBuff, ObcCmd.ObcCmdBuff[3]+4)) ||
		   (ObcCmd.ObcCmdBuff[0] != OBC_ID) || (ObcCmd.ObcCmdBuff[1] != EMA_ID))
		{
			sendAckNack(ObcCmd.ObcCmdBuff[2], 1);
			ObcErrCnt++;
			goto OBCEXIT;
		}

		// Check Commands
		switch(ObcCmd.ObcCmdBuff[2])
		{
			case Health_CmdID:
				sendHealth();
				break;

			case ActPos_CmdID:
				ActID = ObcCmd.ActPosCmd.ActID;

				if((ActID == Act1_ID || ActID == Act13_ID || ActID == ActAll_ID) && (-30.0f <= ObcCmd.ActPosCmd.ActPos[0] && ObcCmd.ActPosCmd.ActPos[0] <= 30.0f))
				{
					CmdActpos[0] = ObcCmd.ActPosCmd.ActPos[0];
				}

				if((ActID == Act2_ID || ActID == Act24_ID || ActID == ActAll_ID) && (-30.0f <= ObcCmd.ActPosCmd.ActPos[1] && ObcCmd.ActPosCmd.ActPos[1] <= 30.0f))
				{
					CmdActpos[1] = ObcCmd.ActPosCmd.ActPos[1];
				}

				if((ActID == Act3_ID || ActID == Act13_ID || ActID == ActAll_ID) && (-30.0f <= ObcCmd.ActPosCmd.ActPos[2] && ObcCmd.ActPosCmd.ActPos[2] <= 30.0f))
				{
					CmdActpos[2] = ObcCmd.ActPosCmd.ActPos[2];
				}

				if((ActID == Act4_ID || ActID == Act24_ID || ActID == ActAll_ID) && (-30.0f <= ObcCmd.ActPosCmd.ActPos[3] && ObcCmd.ActPosCmd.ActPos[3] <= 30.0f))
				{
					CmdActpos[3] = ObcCmd.ActPosCmd.ActPos[3];
				}

				sendActPosResp();
				break;

			case ActStat_CmdID:
				ActID = ObcCmd.ActStatCmd.ActID;

				if(EmaActVolt >= 18.0f)
				{
					if(ActID == Act1_ID || ActID == Act13_ID || ActID == ActAll_ID)
					{
						ActStatflag[0] = !!ObcCmd.ActStatCmd.Status;
					}

					if(ActID == Act2_ID || ActID == Act24_ID || ActID == ActAll_ID)
					{
						ActStatflag[1] = !!ObcCmd.ActStatCmd.Status;
					}

					if(ActID == Act3_ID || ActID == Act13_ID || ActID == ActAll_ID)
					{
						ActStatflag[2] = !!ObcCmd.ActStatCmd.Status;
					}

					if(ActID == Act4_ID || ActID == Act24_ID || ActID == ActAll_ID)
					{
						ActStatflag[3] = !!ObcCmd.ActStatCmd.Status;
					}

					sendAckNack(ObcCmd.ObcCmdBuff[2], 0);
				}
				else
				{
					sendAckNack(ObcCmd.ObcCmdBuff[2], 2);
				}
				break;

			case ReadOffset_CmdID:
				if(EmaActVolt >= 18.0f)
				{
					ReadOffsetFlag = 1;
				}
				else
				{
					sendAckNack(ObcCmd.ObcCmdBuff[2], 2);
				}
				break;

			default:
				sendAckNack(ObcCmd.ObcCmdBuff[2], 1);
				ObcErrCnt++;
				goto OBCEXIT;
		}

		ObcRxCnt++;

		OBCEXIT:
		// Again Start OBC UART Idle DMA for Data Receive
		HAL_UARTEx_ReceiveToIdle_DMA(ObcUart, ObcCmd.ObcCmdBuff, sizeof(ObcCmd.ObcCmdBuff));
		__HAL_DMA_DISABLE_IT(ObcUart->hdmarx, DMA_IT_HT);
	}

	else
	{

	}

	return;
}

// ---------- UART Transmit DMA/interrupt Callback ----------
void HAL_UART_TxCpltCallback(UART_HandleTypeDef *huart)
{
	if(huart->Instance == ObcUart->Instance)
	{
		ObcTxCnt++;
	}

	else
	{

	}

	return;
}

// ---------- UART Receive DMA/interrupt Callback ----------
void HAL_UART_RxCpltCallback(UART_HandleTypeDef *huart)
{
	if(huart->Instance == ObcUart->Instance)
	{

	}

	else
	{

	}

	return;
}

/* USER CODE END 4 */

void Error_Handler(void)
{
  __disable_irq();
  while (1)
  {
  }
}
